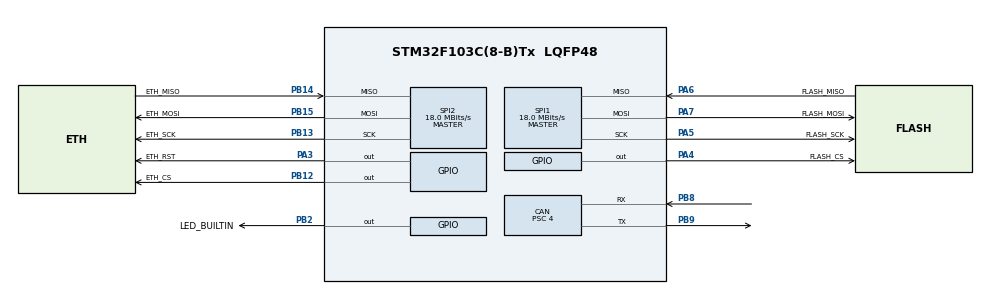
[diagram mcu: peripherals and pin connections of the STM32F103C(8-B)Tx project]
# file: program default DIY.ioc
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CAN.ABOM=ENABLE
CAN.BS1=CAN_BS1_13TQ
CAN.BS2=CAN_BS2_4TQ
CAN.CalculateBaudRate=500000
CAN.CalculateTimeBit=2000
CAN.CalculateTimeQuantum=111.11111111111111
CAN.NART=ENABLE
CAN.Prescaler=4
IWDG.Prescaler=IWDG_PRESCALER_256
IWDG.Reload=780
Mcu.Family=STM32F1
Mcu.Name=STM32F103C(8-B)Tx
Mcu.Package=LQFP48
NVIC.CAN1_RX1_IRQn=true\:6\:0\:true\:false\:true\:true\:true\:true
NVIC.CAN1_SCE_IRQn=true\:6\:0\:true\:false\:true\:true\:true\:true
NVIC.PriorityGroup=NVIC_PRIORITYGROUP_4
NVIC.USB_HP_CAN1_TX_IRQn=true\:5\:0\:true\:false\:true\:true\:true\:true
NVIC.USB_LP_CAN1_RX0_IRQn=true\:5\:0\:true\:false\:true\:true\:true\:true
PA13.Mode=Serial_Wire
PA13.Signal=SYS_JTMS-SWDIO
PA14.Mode=Serial_Wire
PA14.Signal=SYS_JTCK-SWCLK
PA3.GPIO_Label=ETH_RST
PA3.PinState=GPIO_PIN_SET
PA3.Signal=GPIO_Output
PA4.GPIO_Label=FLASH_CS
PA4.GPIO_Speed=GPIO_SPEED_FREQ_HIGH
PA4.PinState=GPIO_PIN_SET
PA4.Signal=GPIO_Output
PA5.GPIO_Label=FLASH_SCK
PA5.Mode=Full_Duplex_Master
PA5.Signal=SPI1_SCK
PA6.GPIO_Label=FLASH_MISO
PA6.Mode=Full_Duplex_Master
PA6.Signal=SPI1_MISO
PA7.GPIO_Label=FLASH_MOSI
PA7.Mode=Full_Duplex_Master
PA7.Signal=SPI1_MOSI
PB12.GPIO_Label=ETH_CS
PB12.GPIO_Speed=GPIO_SPEED_FREQ_HIGH
PB12.PinState=GPIO_PIN_SET
PB12.Signal=GPIO_Output
PB13.GPIO_Label=ETH_SCK
PB13.Mode=Full_Duplex_Master
PB13.Signal=SPI2_SCK
PB14.GPIO_Label=ETH_MISO
PB14.Mode=Full_Duplex_Master
PB14.Signal=SPI2_MISO
PB15.GPIO_Label=ETH_MOSI
PB15.Mode=Full_Duplex_Master
PB15.Signal=SPI2_MOSI
PB2.GPIO_Label=LED_BUILTIN
PB2.Signal=GPIO_Output
PB8.Mode=CAN_Activate
PB8.Signal=CAN_RX
PB9.Mode=CAN_Activate
PB9.Signal=CAN_TX
PD0-OSC_IN.Mode=HSE-External-Oscillator
PD0-OSC_IN.Signal=RCC_OSC_IN
PD1-OSC_OUT.Mode=HSE-External-Oscillator
PD1-OSC_OUT.Signal=RCC_OSC_OUT
ProjectManager.HeapSize=0x200
ProjectManager.StackSize=0x400
ProjectManager.TargetToolchain=STM32CubeIDE
RCC.AHBFreq_Value=72000000
RCC.APB1CLKDivider=RCC_HCLK_DIV2
RCC.APB1Freq_Value=36000000
RCC.APB1TimFreq_Value=72000000
RCC.APB2Freq_Value=72000000
RCC.APB2TimFreq_Value=72000000
RCC.HCLKFreq_Value=72000000
RCC.PLLMUL=RCC_PLL_MUL9
RCC.PLLSourceVirtual=RCC_PLLSOURCE_HSE
RCC.SYSCLKFreq_VALUE=72000000
RCC.SYSCLKSource=RCC_SYSCLKSOURCE_PLLCLK
RCC.USBFreq_Value=72000000
SPI1.BaudRatePrescaler=SPI_BAUDRATEPRESCALER_4
SPI1.CalculateBaudRate=18.0 MBits/s
SPI1.Direction=SPI_DIRECTION_2LINES
SPI1.Mode=SPI_MODE_MASTER
SPI1.VirtualType=VM_MASTER
SPI2.CalculateBaudRate=18.0 MBits/s
SPI2.Direction=SPI_DIRECTION_2LINES
SPI2.Mode=SPI_MODE_MASTER
SPI2.VirtualType=VM_MASTER
VP_CRC_VS_CRC.Mode=CRC_Activate
VP_IWDG_VS_IWDG.Mode=IWDG_Activate
board=custom

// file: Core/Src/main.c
/* USER CODE BEGIN Header */
/**
  ******************************************************************************
  * @file           : main.c
  * @brief          : Main program body
  ******************************************************************************
  * @attention
  *
  * Copyright (c) 2026 STMicroelectronics.
  * All rights reserved.
  *
  * This software is licensed under terms that can be found in the LICENSE file
  * in the root directory of this software component.
  * If no LICENSE file comes with this software, it is provided AS-IS.
  *
  ******************************************************************************
  */
/* USER CODE END Header */
#include "main.h"

/* USER CODE BEGIN Includes */
#include <string.h>
#include <stdio.h>
#include <stdlib.h>
#include "dhcp.h"
#include "mqtt_config.h"
#include "web_config.h"
#include "mqtt_client.h"
#include "can_bus.h"
#include "web_cmnd.h"
#include "html_flash.h"
#include "html_landing.h"
/* USER CODE END Includes */

/* USER CODE BEGIN PD */
//#define OTA_MODE_BACKUP
//#define MAIN_DEBUG
#define DEBUG_MQTT
#define APP_START_ADDR        0x08001000U
#define MAX_FIRMWARE_SIZE     (60 * 1024)

#define FLASH_BACKUP_META     0x00010000U
#define FLASH_BACKUP_BIN      0x00011000U

#define FLASH_STAGING_META    0x00020000U
#define FLASH_STAGING_BIN     0x00021000U

#define W5500_COMMON_REG_OP   0x00
#define W5500_S0_REG_OP       0x08
#define W5500_S0_TX_OP        0x10
#define W5500_S0_RX_OP        0x18

#define Sn_MR                 0x0000
#define Sn_CR                 0x0001
#define Sn_IR                 0x0002
#define Sn_SR                 0x0003
#define Sn_PORT               0x0004
#define Sn_TX_FSR             0x0020
#define Sn_TX_RD              0x0022
#define Sn_TX_WR              0x0024
#define Sn_RX_RSR             0x0026
#define Sn_RX_RD              0x0028

#define SOCK_CLOSED           0x00
#define SOCK_INIT             0x13
#define SOCK_LISTEN           0x14
#define SOCK_ESTABLISHED      0x17
#define SOCK_CLOSE_WAIT       0x1C
#define SOCK_FIN_WAIT         0x18

#define CMD_OPEN              0x01
#define CMD_LISTEN            0x02
#define CMD_DISCON            0x08
#define CMD_CLOSE             0x10
#define CMD_SEND              0x20
#define CMD_RECV              0x40

#define W5500_S0_BUF_MASK     0x1FFF
#define CHUNK_BUFFER_SIZE     (256)
uint8_t ram_buffer[CHUNK_BUFFER_SIZE];
/* USER CODE END PD */

CAN_HandleTypeDef hcan;

/* USER CODE BEGIN PV */
volatile uint32_t g_ms_tick = 0;
uint8_t g_phy_reg = 0;
#ifdef MAIN_DEBUG
uint8_t g_dbg_s0_test = 0;
uint8_t g_dbg_s1_test = 0;
uint8_t g_dbg_test2   = 0;
uint8_t g_dbg_test3   = 0;
#endif

#ifdef DEBUG_MQTT
uint8_t g_dbg_s2_tx_size = 0;
uint8_t g_dbg_s2_sr     = 0;
uint8_t g_dbg_s2_fsr_hi = 0;
uint8_t g_dbg_s2_fsr_lo = 0;
#endif
/* USER CODE END PV */

void SystemClock_Config(void);
static void MX_GPIO_Init(void);
static void MX_SPI1_Init(void);
static void MX_SPI2_Init(void);
static void MX_CRC_Init(void);
static void MX_IWDG_Init(void);
static void MX_CAN_Init(void);

/* USER CODE BEGIN 0 */

// ==============================================================================
// 1. DRIVER SPI1 - FLASH EKSTERNAL
// ==============================================================================
static inline uint8_t SPI1_Transfer(uint8_t data)
{
  while (!LL_SPI_IsActiveFlag_TXE(SPI1));
  LL_SPI_TransmitData8(SPI1, data);
  while (!LL_SPI_IsActiveFlag_RXNE(SPI1));
  return LL_SPI_ReceiveData8(SPI1);
}

void ExtFlash_WaitBusy(void)
{
  uint8_t status;
  do {
    LL_GPIO_ResetOutputPin(FLASH_CS_GPIO_Port, FLASH_CS_Pin);
    SPI1_Transfer(0x05);
    status = SPI1_Transfer(0xFF);
    LL_GPIO_SetOutputPin(FLASH_CS_GPIO_Port, FLASH_CS_Pin);
  } while (status & 0x01);
}

void ExtFlash_WriteEnable(void)
{
  LL_GPIO_ResetOutputPin(FLASH_CS_GPIO_Port, FLASH_CS_Pin);
  SPI1_Transfer(0x06);
  LL_GPIO_SetOutputPin(FLASH_CS_GPIO_Port, FLASH_CS_Pin);
}

void ExtFlash_EraseSector(uint32_t addr)
{
  ExtFlash_WriteEnable();
  LL_GPIO_ResetOutputPin(FLASH_CS_GPIO_Port, FLASH_CS_Pin);
  SPI1_Transfer(0x20);
  SPI1_Transfer((uint8_t)(addr >> 16));
  SPI1_Transfer((uint8_t)(addr >> 8));
  SPI1_Transfer((uint8_t)addr);
  LL_GPIO_SetOutputPin(FLASH_CS_GPIO_Port, FLASH_CS_Pin);
  ExtFlash_WaitBusy();
}

void ExtFlash_WritePage(uint32_t addr, const uint8_t *data, uint16_t len)
{
  ExtFlash_WriteEnable();
  LL_GPIO_ResetOutputPin(FLASH_CS_GPIO_Port, FLASH_CS_Pin);
  SPI1_Transfer(0x02);
  SPI1_Transfer((uint8_t)(addr >> 16));
  SPI1_Transfer((uint8_t)(addr >> 8));
  SPI1_Transfer((uint8_t)addr);
  for (uint16_t i = 0; i < len; i++) SPI1_Transfer(data[i]);
  LL_GPIO_SetOutputPin(FLASH_CS_GPIO_Port, FLASH_CS_Pin);
  ExtFlash_WaitBusy();
}

void Flash_ReadBytes(uint32_t addr, uint8_t *buf, uint32_t len)
{
  LL_GPIO_ResetOutputPin(FLASH_CS_GPIO_Port, FLASH_CS_Pin);
  SPI1_Transfer(0x03);
  SPI1_Transfer((uint8_t)(addr >> 16));
  SPI1_Transfer((uint8_t)(addr >> 8));
  SPI1_Transfer((uint8_t)addr);
  for (uint32_t i = 0; i < len; i++) buf[i] = SPI1_Transfer(0xFF);
  LL_GPIO_SetOutputPin(FLASH_CS_GPIO_Port, FLASH_CS_Pin);
}

uint32_t Hitung_CRC32_LL(const uint32_t *pData32, uint32_t totalWord)
{
  CRC->CR = 1;
  while (totalWord--) CRC->DR = *pData32++;
  return CRC->DR;
}

// ==============================================================================
// 2. FUNGSI SELF-BACKUP
// ==============================================================================
uint8_t Backup_CurrentFirmwareToExtFlash(uint32_t bin_size)
{
  if (bin_size == 0 || bin_size > MAX_FIRMWARE_SIZE) return 0;

  uint32_t total_words = (bin_size + 3) / 4;
  uint32_t rom_crc = Hitung_CRC32_LL((const uint32_t *)APP_START_ADDR, total_words);

  ExtFlash_EraseSector(FLASH_BACKUP_META);
  uint32_t sectors = (bin_size + 4095) / 4096;
  for (uint32_t s = 0; s < sectors; s++)
    ExtFlash_EraseSector(FLASH_BACKUP_BIN + (s * 4096));

  uint32_t bytes_left = bin_size;
  uint32_t cur_rom    = APP_START_ADDR;
  uint32_t cur_flash  = FLASH_BACKUP_BIN;
  while (bytes_left > 0) {
    uint16_t chunk = (bytes_left > 256) ? 256 : bytes_left;
    ExtFlash_WritePage(cur_flash, (const uint8_t *)cur_rom, chunk);
    cur_rom   += chunk;
    cur_flash += chunk;
    bytes_left -= chunk;
  }

  CRC->CR = 1;
  uint32_t words_left = total_words;
  uint32_t read_addr  = FLASH_BACKUP_BIN;
  while (words_left > 0) {
    uint32_t c_words = (words_left > 16) ? 16 : words_left;
    uint8_t temp[64];
    Flash_ReadBytes(read_addr, temp, c_words * 4);
    uint32_t *p = (uint32_t *)temp;
    for (uint32_t w = 0; w < c_words; w++) CRC->DR = p[w];
    read_addr  += (c_words * 4);
    words_left -= c_words;
  }

  if (CRC->DR == rom_crc) {
    uint8_t meta[10] = {0};
    meta[0] = (uint8_t)(bin_size);
    meta[1] = (uint8_t)(bin_size >> 8);
    meta[2] = (uint8_t)(bin_size >> 16);
    meta[3] = (uint8_t)(bin_size >> 24);
    meta[4] = (uint8_t)(rom_crc);
    meta[5] = (uint8_t)(rom_crc >> 8);
    meta[6] = (uint8_t)(rom_crc >> 16);
    meta[7] = (uint8_t)(rom_crc >> 24);
    meta[8] = 0x00;
    ExtFlash_WritePage(FLASH_BACKUP_META, meta, 10);
    return 1;
  }
  return 0;
}

// ==============================================================================
// 3. DRIVER SPI2 - W5500 ETHERNET BARE-METAL
// ==============================================================================
static inline uint8_t SPI2_Transfer(uint8_t data)
{
  uint32_t t = 200000;
  while (!LL_SPI_IsActiveFlag_TXE(SPI2))
    if (--t == 0) return 0xFF;
  LL_SPI_TransmitData8(SPI2, data);
  t = 200000;
  while (!LL_SPI_IsActiveFlag_RXNE(SPI2))
    if (--t == 0) return 0xFF;
  return LL_SPI_ReceiveData8(SPI2);
}

void W5500_WriteReg(uint16_t addr, uint8_t block, uint8_t data)
{
  LL_GPIO_ResetOutputPin(ETH_CS_GPIO_Port, ETH_CS_Pin);
  SPI2_Transfer((uint8_t)(addr >> 8));
  SPI2_Transfer((uint8_t)addr);
  SPI2_Transfer(block | 0x04);
  SPI2_Transfer(data);
  LL_GPIO_SetOutputPin(ETH_CS_GPIO_Port, ETH_CS_Pin);
}

uint8_t W5500_ReadReg(uint16_t addr, uint8_t block)
{
  LL_GPIO_ResetOutputPin(ETH_CS_GPIO_Port, ETH_CS_Pin);
  SPI2_Transfer((uint8_t)(addr >> 8));
  SPI2_Transfer((uint8_t)addr);
  SPI2_Transfer(block | 0x00);
  uint8_t val = SPI2_Transfer(0xFF);
  LL_GPIO_SetOutputPin(ETH_CS_GPIO_Port, ETH_CS_Pin);
  return val;
}

void W5500_WriteBuf(uint16_t addr, uint8_t block, const uint8_t *buf, uint16_t len)
{
  LL_GPIO_ResetOutputPin(ETH_CS_GPIO_Port, ETH_CS_Pin);
  SPI2_Transfer((uint8_t)(addr >> 8));
  SPI2_Transfer((uint8_t)addr);
  SPI2_Transfer(block | 0x04);
  for (uint16_t i = 0; i < len; i++) SPI2_Transfer(buf[i]);
  LL_GPIO_SetOutputPin(ETH_CS_GPIO_Port, ETH_CS_Pin);
}

void W5500_ReadBuf(uint16_t addr, uint8_t block, uint8_t *buf, uint16_t len)
{
  LL_GPIO_ResetOutputPin(ETH_CS_GPIO_Port, ETH_CS_Pin);
  SPI2_Transfer((uint8_t)(addr >> 8));
  SPI2_Transfer((uint8_t)addr);
  SPI2_Transfer(block | 0x00);
  for (uint16_t i = 0; i < len; i++) buf[i] = SPI2_Transfer(0xFF);
  LL_GPIO_SetOutputPin(ETH_CS_GPIO_Port, ETH_CS_Pin);
}

void W5500_InitNetwork(void)
{
  LL_GPIO_ResetOutputPin(ETH_RST_GPIO_Port, ETH_RST_Pin);
  for (volatile int i = 0; i < 72000; i++);
  LL_GPIO_SetOutputPin(ETH_RST_GPIO_Port, ETH_RST_Pin);
  for (volatile int i = 0; i < 720000; i++);

  // Set MAC — IP/subnet/gateway diurus DHCP
  uint8_t mac[] = {0x00, 0x08, 0xDC, 0x11, 0x22, 0x33};
  uint8_t zero[] = {0, 0, 0, 0};
  W5500_WriteBuf(0x0009, W5500_COMMON_REG_OP, mac,  6);
  W5500_WriteBuf(0x0001, W5500_COMMON_REG_OP, zero, 4);  // GW
  W5500_WriteBuf(0x0005, W5500_COMMON_REG_OP, zero, 4);  // Subnet
  W5500_WriteBuf(0x000F, W5500_COMMON_REG_OP, zero, 4);  // IP

  // Alokasi buffer: Socket 0 = 8KB, Socket 1 = 2KB
  W5500_WriteReg(0x001E, W5500_S0_REG_OP, 8);  // Socket 0 TX
  W5500_WriteReg(0x001F, W5500_S0_REG_OP, 8);  // Socket 0 RX
  W5500_WriteReg(0x001E, 0x28,            2);  // Socket 1 TX
  W5500_WriteReg(0x001F, 0x28,            2);  // Socket 1 RX
}

static void W5500_WaitCR(uint8_t block, uint32_t timeout_ms)
{
  uint32_t t = g_ms_tick;
  while (W5500_ReadReg(Sn_CR, block))
    if ((g_ms_tick - t) > timeout_ms) break;
}

static void W5500_WaitSR(uint8_t block, uint8_t expected, uint32_t timeout_ms)
{
  uint32_t t = g_ms_tick;
  while (W5500_ReadReg(Sn_SR, block) != expected)
    if ((g_ms_tick - t) > timeout_ms) break;
}

void W5500_SocketOpenListen(uint16_t port)
{
  W5500_WriteReg(Sn_CR,      W5500_S0_REG_OP, CMD_CLOSE);
  W5500_WaitCR(W5500_S0_REG_OP, 10);
  W5500_WriteReg(Sn_MR,      W5500_S0_REG_OP, 0x01);
  W5500_WriteReg(Sn_PORT,    W5500_S0_REG_OP, (uint8_t)(port >> 8));
  W5500_WriteReg(Sn_PORT + 1,W5500_S0_REG_OP, (uint8_t)port);
  W5500_WriteReg(Sn_CR,      W5500_S0_REG_OP, CMD_OPEN);
  W5500_WaitCR(W5500_S0_REG_OP, 10);
  W5500_WaitSR(W5500_S0_REG_OP, SOCK_INIT, 50);
  W5500_WriteReg(Sn_CR,      W5500_S0_REG_OP, CMD_LISTEN);
  W5500_WaitCR(W5500_S0_REG_OP, 10);
  W5500_WaitSR(W5500_S0_REG_OP, SOCK_LISTEN, 50);
}

void W5500_SendTCP(const uint8_t *data, uint16_t len)
{
  uint16_t ptr = ((uint16_t)W5500_ReadReg(Sn_TX_WR,     W5500_S0_REG_OP) << 8) |
                             W5500_ReadReg(Sn_TX_WR + 1, W5500_S0_REG_OP);
  W5500_WriteBuf(ptr, W5500_S0_TX_OP, data, len);
  ptr += len;
  W5500_WriteReg(Sn_TX_WR,     W5500_S0_REG_OP, (uint8_t)(ptr >> 8));
  W5500_WriteReg(Sn_TX_WR + 1, W5500_S0_REG_OP, (uint8_t)ptr);
  W5500_WriteReg(Sn_CR,        W5500_S0_REG_OP, CMD_SEND);
  W5500_WaitCR(W5500_S0_REG_OP, 10);
}

// ==============================================================================
// 4. WEB OTA HANDLER
// HTML_PAGE dihapus — dashboard di-serve dari SPI Flash (html_flash)
// Fallback ke HTML_LANDING (html_landing.h) jika SPI Flash kosong/corrupt
// ==============================================================================

void Process_Web_OTA(void)

{

  uint8_t sr = W5500_ReadReg(Sn_SR, W5500_S0_REG_OP);

  if (sr == SOCK_CLOSED) {

    W5500_SocketOpenListen(80);

    return;
  }

  if (sr == SOCK_CLOSE_WAIT || sr == SOCK_FIN_WAIT) {

    W5500_WriteReg(Sn_CR, W5500_S0_REG_OP, CMD_DISCON);

    while (W5500_ReadReg(Sn_CR, W5500_S0_REG_OP))
      ;

    return;
  }

  if (sr != SOCK_ESTABLISHED) return;

  uint16_t rx_len = ((uint16_t)W5500_ReadReg(Sn_RX_RSR, W5500_S0_REG_OP) << 8) |

                    W5500_ReadReg(Sn_RX_RSR + 1, W5500_S0_REG_OP);

  if (rx_len == 0) return;

  uint16_t rx_rd = ((uint16_t)W5500_ReadReg(Sn_RX_RD, W5500_S0_REG_OP) << 8) |

                   W5500_ReadReg(Sn_RX_RD + 1, W5500_S0_REG_OP);

  uint16_t fetch = (rx_len > (CHUNK_BUFFER_SIZE - 1)) ? (CHUNK_BUFFER_SIZE - 1) : rx_len;

  uint16_t s_off = rx_rd & W5500_S0_BUF_MASK;

  if ((s_off + fetch) > (W5500_S0_BUF_MASK + 1)) {

    uint16_t part1 = (W5500_S0_BUF_MASK + 1) - s_off;

    W5500_ReadBuf(s_off, W5500_S0_RX_OP, ram_buffer, part1);

    W5500_ReadBuf(0x0000, W5500_S0_RX_OP, ram_buffer + part1, fetch - part1);

  } else {

    W5500_ReadBuf(s_off, W5500_S0_RX_OP, ram_buffer, fetch);
  }

  ram_buffer[fetch] = '\0';

  // // ============================================================

  // // /config — Halaman konfigurasi MQTT

  // // ============================================================

  // if (strstr((char *)ram_buffer, "/config") != NULL)

  // {

  // WebConfig_Handle(ram_buffer, fetch);

  //

  // rx_rd += rx_len;

  // W5500_WriteReg(Sn_RX_RD, W5500_S0_REG_OP, (uint8_t)(rx_rd >> 8));

  // W5500_WriteReg(Sn_RX_RD + 1, W5500_S0_REG_OP, (uint8_t)rx_rd);

  // W5500_WriteReg(Sn_CR, W5500_S0_REG_OP, CMD_RECV);

  // while (W5500_ReadReg(Sn_CR, W5500_S0_REG_OP));

  // W5500_WriteReg(Sn_CR, W5500_S0_REG_OP, CMD_DISCON);

  // while (W5500_ReadReg(Sn_CR, W5500_S0_REG_OP));

  // return;

  // }

  // ============================================================

  // /config — Halaman konfigurasi MQTT

  // ============================================================

  if (strstr((char *)ram_buffer, "/config") != NULL)

  {

    // Cek apakah request berupa POST (Form submit)

    if (strstr((char *)ram_buffer, "POST") != NULL)

    {

      uint8_t tail[4] = { 0 };

      char *pBody = NULL;

      // Stream per chunk 256 byte sampai delimiter "\r\n\r\n" ditemukan

      while (pBody == NULL) {

        static uint8_t overlap[4 + CHUNK_BUFFER_SIZE];

        memcpy(overlap, tail, 4);

        memcpy(overlap + 4, ram_buffer, fetch);

        overlap[4 + fetch] = '\0';

        char *found = strstr((char *)overlap, "\r\n\r\n");

        if (found) {

          int pos_in_overlap = (found - (char *)overlap);

          int pos_in_buf = pos_in_overlap - 4;

          int body_start = pos_in_buf + 4;

          if (body_start < 0) body_start = 0;

          if (body_start > fetch) body_start = fetch;

          pBody = (char *)ram_buffer + body_start;

          // Tandai penerimaan chunk ini ke W5500

          rx_rd += fetch;

          W5500_WriteReg(Sn_RX_RD, W5500_S0_REG_OP, (uint8_t)(rx_rd >> 8));

          W5500_WriteReg(Sn_RX_RD + 1, W5500_S0_REG_OP, (uint8_t)rx_rd);

          W5500_WriteReg(Sn_CR, W5500_S0_REG_OP, CMD_RECV);

          while (W5500_ReadReg(Sn_CR, W5500_S0_REG_OP))
            ;

        } else {

          memcpy(tail, ram_buffer + fetch - 4, 4);

          rx_rd += fetch;

          W5500_WriteReg(Sn_RX_RD, W5500_S0_REG_OP, (uint8_t)(rx_rd >> 8));

          W5500_WriteReg(Sn_RX_RD + 1, W5500_S0_REG_OP, (uint8_t)rx_rd);

          W5500_WriteReg(Sn_CR, W5500_S0_REG_OP, CMD_RECV);

          while (W5500_ReadReg(Sn_CR, W5500_S0_REG_OP))
            ;

          // Tarik chunk berikutnya

          rx_len = ((uint16_t)W5500_ReadReg(Sn_RX_RSR, W5500_S0_REG_OP) << 8) |

                   W5500_ReadReg(Sn_RX_RSR + 1, W5500_S0_REG_OP);

          if (rx_len == 0) continue;

          fetch = (rx_len > (CHUNK_BUFFER_SIZE - 1)) ? (CHUNK_BUFFER_SIZE - 1) : rx_len;

          s_off = rx_rd & W5500_S0_BUF_MASK;

          W5500_ReadBuf(s_off, W5500_S0_RX_OP, ram_buffer, fetch);

          ram_buffer[fetch] = '\0';
        }
      }

      // Pindahkan sisa body yang terpotong ke awal ram_buffer

      uint16_t body_in_chunk = fetch - ((uint8_t *)pBody - ram_buffer);

      memmove(ram_buffer, pBody, body_in_chunk);

      ram_buffer[body_in_chunk] = '\0';

      // Jika body masih tersisa di buffer hardware W5500, ambil sisa byte-nya

      rx_len = ((uint16_t)W5500_ReadReg(Sn_RX_RSR, W5500_S0_REG_OP) << 8) |

               W5500_ReadReg(Sn_RX_RSR + 1, W5500_S0_REG_OP);

      if (rx_len > 0) {

        uint16_t grab = rx_len;

        if (body_in_chunk + grab > CHUNK_BUFFER_SIZE - 1) {

          grab = (CHUNK_BUFFER_SIZE - 1) - body_in_chunk;
        }

        s_off = rx_rd & W5500_S0_BUF_MASK;

        W5500_ReadBuf(s_off, W5500_S0_RX_OP, ram_buffer + body_in_chunk, grab);

        body_in_chunk += grab;

        // ram_buffer[body_in_chunk] = '\0';

        if (body_in_chunk >= CHUNK_BUFFER_SIZE)

          body_in_chunk = CHUNK_BUFFER_SIZE - 1;

        ram_buffer[body_in_chunk] = '\0';

        rx_rd += rx_len;

        W5500_WriteReg(Sn_RX_RD, W5500_S0_REG_OP, (uint8_t)(rx_rd >> 8));

        W5500_WriteReg(Sn_RX_RD + 1, W5500_S0_REG_OP, (uint8_t)rx_rd);

        W5500_WriteReg(Sn_CR, W5500_S0_REG_OP, CMD_RECV);

        while (W5500_ReadReg(Sn_CR, W5500_S0_REG_OP))
          ;
      }

      // Sisipkan prefix "POST /config\r\n\r\n" agar lolos pengecekan strstr() di web_config.c

      const char prefix_tag[] = "POST /config\r\n\r\n";

      uint8_t tag_len = strlen(prefix_tag);

      if (body_in_chunk + tag_len < CHUNK_BUFFER_SIZE) {

        memmove(ram_buffer + tag_len, ram_buffer, body_in_chunk + 1);

        memcpy(ram_buffer, prefix_tag, tag_len);

        body_in_chunk += tag_len;
      }

      // Proses penyimpanan dan kirim response HTTP

      WebConfig_Handle(ram_buffer, body_in_chunk);

      // Berikan jeda sejenak agar frame TCP ACK / HTTP 200 OK selesai terkirim sebelum DISCON

      for (volatile int d = 0; d < 20000; d++)
        ;

      W5500_WriteReg(Sn_CR, W5500_S0_REG_OP, CMD_DISCON);

      while (W5500_ReadReg(Sn_CR, W5500_S0_REG_OP))
        ;

      return;
    }

    // Handle GET /config dan GET /config/data

    WebConfig_Handle(ram_buffer, fetch);

    rx_rd += rx_len;

    W5500_WriteReg(Sn_RX_RD, W5500_S0_REG_OP, (uint8_t)(rx_rd >> 8));

    W5500_WriteReg(Sn_RX_RD + 1, W5500_S0_REG_OP, (uint8_t)rx_rd);

    W5500_WriteReg(Sn_CR, W5500_S0_REG_OP, CMD_RECV);

    while (W5500_ReadReg(Sn_CR, W5500_S0_REG_OP))
      ;

    for (volatile int d = 0; d < 20000; d++)
      ;

    W5500_WriteReg(Sn_CR, W5500_S0_REG_OP, CMD_DISCON);

    while (W5500_ReadReg(Sn_CR, W5500_S0_REG_OP))
      ;

    return;
  }

  // /cmnd — CAN Command GUI

  if (strstr((char *)ram_buffer, "/cmnd") != NULL) {

    if (strstr((char *)ram_buffer, "POST") != NULL) {

      uint8_t tail[4] = { 0 };

      char *pBody = NULL;

      // Stream per chunk sampai delimiter "\r\n\r\n" ditemukan

      while (pBody == NULL) {

        static uint8_t overlap[4 + CHUNK_BUFFER_SIZE];

        memcpy(overlap, tail, 4);

        memcpy(overlap + 4, ram_buffer, fetch);

        overlap[4 + fetch] = '\0';

        char *found = strstr((char *)overlap, "\r\n\r\n");

        if (found) {

          int pos_in_overlap = (found - (char *)overlap);

          int pos_in_buf = pos_in_overlap - 4;

          int body_start = pos_in_buf + 4;

          if (body_start < 0) body_start = 0;

          if (body_start > fetch) body_start = fetch;

          pBody = (char *)ram_buffer + body_start;

          rx_rd += fetch;

          W5500_WriteReg(Sn_RX_RD, W5500_S0_REG_OP, (uint8_t)(rx_rd >> 8));

          W5500_WriteReg(Sn_RX_RD + 1, W5500_S0_REG_OP, (uint8_t)rx_rd);

          W5500_WriteReg(Sn_CR, W5500_S0_REG_OP, CMD_RECV);

          while (W5500_ReadReg(Sn_CR, W5500_S0_REG_OP))
            ;

        } else {

          memcpy(tail, ram_buffer + fetch - 4, 4);

          rx_rd += fetch;

          W5500_WriteReg(Sn_RX_RD, W5500_S0_REG_OP, (uint8_t)(rx_rd >> 8));

          W5500_WriteReg(Sn_RX_RD + 1, W5500_S0_REG_OP, (uint8_t)rx_rd);

          W5500_WriteReg(Sn_CR, W5500_S0_REG_OP, CMD_RECV);

          while (W5500_ReadReg(Sn_CR, W5500_S0_REG_OP))
            ;

          rx_len = ((uint16_t)W5500_ReadReg(Sn_RX_RSR, W5500_S0_REG_OP) << 8) |

                   W5500_ReadReg(Sn_RX_RSR + 1, W5500_S0_REG_OP);

          if (rx_len == 0) continue;

          fetch = (rx_len > (CHUNK_BUFFER_SIZE - 1)) ? (CHUNK_BUFFER_SIZE - 1) : rx_len;

          s_off = rx_rd & W5500_S0_BUF_MASK;

          W5500_ReadBuf(s_off, W5500_S0_RX_OP, ram_buffer, fetch);

          ram_buffer[fetch] = '\0';
        }
      }

      // Pindahkan sisa body ke awal ram_buffer

      uint16_t body_in_chunk = fetch - ((uint8_t *)pBody - ram_buffer);

      memmove(ram_buffer, pBody, body_in_chunk);

      ram_buffer[body_in_chunk] = '\0';

      // Ambil sisa body dari W5500 jika masih ada

      rx_len = ((uint16_t)W5500_ReadReg(Sn_RX_RSR, W5500_S0_REG_OP) << 8) |

               W5500_ReadReg(Sn_RX_RSR + 1, W5500_S0_REG_OP);

      if (rx_len > 0) {

        uint16_t grab = rx_len;

        if (body_in_chunk + grab > CHUNK_BUFFER_SIZE - 1)

          grab = (CHUNK_BUFFER_SIZE - 1) - body_in_chunk;

        s_off = rx_rd & W5500_S0_BUF_MASK;

        W5500_ReadBuf(s_off, W5500_S0_RX_OP, ram_buffer + body_in_chunk, grab);

        body_in_chunk += grab;

        if (body_in_chunk >= CHUNK_BUFFER_SIZE)

          body_in_chunk = CHUNK_BUFFER_SIZE - 1;

        ram_buffer[body_in_chunk] = '\0';

        rx_rd += rx_len;

        W5500_WriteReg(Sn_RX_RD, W5500_S0_REG_OP, (uint8_t)(rx_rd >> 8));

        W5500_WriteReg(Sn_RX_RD + 1, W5500_S0_REG_OP, (uint8_t)rx_rd);

        W5500_WriteReg(Sn_CR, W5500_S0_REG_OP, CMD_RECV);

        while (W5500_ReadReg(Sn_CR, W5500_S0_REG_OP))
          ;
      }

      // Sisipkan prefix agar WebCmnd_Handle bisa deteksi "POST /cmnd"

      const char prefix_tag[] = "POST /cmnd\r\n\r\n";

      uint8_t tag_len = (uint8_t)strlen(prefix_tag);

      if (body_in_chunk + tag_len < CHUNK_BUFFER_SIZE) {

        memmove(ram_buffer + tag_len, ram_buffer, body_in_chunk + 1);

        memcpy(ram_buffer, prefix_tag, tag_len);

        body_in_chunk += tag_len;
      }

      WebCmnd_Handle(ram_buffer, body_in_chunk);

      for (volatile int d = 0; d < 20000; d++)
        ;

      W5500_WriteReg(Sn_CR, W5500_S0_REG_OP, CMD_DISCON);

      while (W5500_ReadReg(Sn_CR, W5500_S0_REG_OP))
        ;

      return;
    }

    // GET /cmnd

    WebCmnd_Handle(ram_buffer, fetch);

    rx_rd += rx_len;

    W5500_WriteReg(Sn_RX_RD, W5500_S0_REG_OP, (uint8_t)(rx_rd >> 8));

    W5500_WriteReg(Sn_RX_RD + 1, W5500_S0_REG_OP, (uint8_t)rx_rd);

    W5500_WriteReg(Sn_CR, W5500_S0_REG_OP, CMD_RECV);

    while (W5500_ReadReg(Sn_CR, W5500_S0_REG_OP))
      ;

    for (volatile int d = 0; d < 20000; d++)
      ;

    W5500_WriteReg(Sn_CR, W5500_S0_REG_OP, CMD_DISCON);

    while (W5500_ReadReg(Sn_CR, W5500_S0_REG_OP))
      ;

    return;
  }

  // GET / — Kirim dashboard dari SPI Flash, fallback ke landing page

  if (strstr((char *)ram_buffer, "GET /") != NULL) {

    if (HtmlFlash_IsValid()) {
      HtmlFlash_SendPage();
    } else {
      uint16_t llen = (uint16_t)strlen(HTML_LANDING);
      char header[128];
      sprintf(header,
              "HTTP/1.1 200 OK\r\nContent-Type: text/html\r\nContent-Length: %d\r\nConnection: close\r\n\r\n",
              llen);
      W5500_SendTCP((uint8_t *)header, strlen(header));
      W5500_SendTCP((const uint8_t *)HTML_LANDING, llen);
    }

    rx_rd += rx_len;

    W5500_WriteReg(Sn_RX_RD, W5500_S0_REG_OP, (uint8_t)(rx_rd >> 8));

    W5500_WriteReg(Sn_RX_RD + 1, W5500_S0_REG_OP, (uint8_t)rx_rd);

    W5500_WriteReg(Sn_CR, W5500_S0_REG_OP, CMD_RECV);

    while (W5500_ReadReg(Sn_CR, W5500_S0_REG_OP))
      ;

    W5500_WriteReg(Sn_CR, W5500_S0_REG_OP, CMD_DISCON);

    while (W5500_ReadReg(Sn_CR, W5500_S0_REG_OP))
      ;

    return;
  }

  // POST /html-upload — Terima file HTML, simpan ke SPI Flash
  // Logika identik dengan POST /ota yang sudah proven, hanya beda target address

  if (strstr((char *)ram_buffer, "POST /html-upload") != NULL) {

    char *pSize = strstr((char *)ram_buffer, "?sz=");
    char *pCrc  = strstr((char *)ram_buffer, "&crc=");
    if (!pSize || !pCrc) return;

    uint32_t expected_size = strtoul(pSize + 4, NULL, 10);
    uint32_t expected_crc  = strtoul(pCrc  + 5, NULL, 0);

    if (expected_size == 0 || expected_size > HTML_FLASH_DATA_MAX) {
      const char err[] = "HTTP/1.1 400 Bad\r\nConnection: close\r\n\r\nFile terlalu besar!";
      W5500_SendTCP((uint8_t *)err, strlen(err));
      W5500_WriteReg(Sn_CR, W5500_S0_REG_OP, CMD_DISCON);
      while (W5500_ReadReg(Sn_CR, W5500_S0_REG_OP));
      return;
    }

    // == IDENTIK OTA: cari \r\n\r\n dengan overlap 4 byte ==
    uint8_t  html_rx_already_updated = 0;
    uint8_t  html_tail[4] = { 0 };
    char    *pBody = NULL;

    while (pBody == NULL) {

      uint8_t overlap[4 + CHUNK_BUFFER_SIZE];
      memcpy(overlap, html_tail, 4);
      memcpy(overlap + 4, ram_buffer, fetch);
      overlap[4 + fetch] = '\0';

      char *found = strstr((char *)overlap, "\r\n\r\n");
      if (found) {
        int pos_in_overlap = (found - (char *)overlap);
        int pos_in_buf     = pos_in_overlap - 4;
        int body_start     = pos_in_buf + 4;
        if (body_start < 0)      body_start = 0;
        if (body_start > fetch)  body_start = fetch;
        pBody = (char *)ram_buffer + body_start;

        rx_rd += fetch;
        W5500_WriteReg(Sn_RX_RD,     W5500_S0_REG_OP, (uint8_t)(rx_rd >> 8));
        W5500_WriteReg(Sn_RX_RD + 1, W5500_S0_REG_OP, (uint8_t)rx_rd);
        W5500_WriteReg(Sn_CR,         W5500_S0_REG_OP, CMD_RECV);
        while (W5500_ReadReg(Sn_CR,   W5500_S0_REG_OP));
        html_rx_already_updated = 1;

      } else {
        memcpy(html_tail, ram_buffer + fetch - 4, 4);
        rx_rd += fetch;
        W5500_WriteReg(Sn_RX_RD,     W5500_S0_REG_OP, (uint8_t)(rx_rd >> 8));
        W5500_WriteReg(Sn_RX_RD + 1, W5500_S0_REG_OP, (uint8_t)rx_rd);
        W5500_WriteReg(Sn_CR,         W5500_S0_REG_OP, CMD_RECV);
        while (W5500_ReadReg(Sn_CR,   W5500_S0_REG_OP));

        rx_len = ((uint16_t)W5500_ReadReg(Sn_RX_RSR,     W5500_S0_REG_OP) << 8) |
                             W5500_ReadReg(Sn_RX_RSR + 1, W5500_S0_REG_OP);
        if (rx_len == 0) continue;
        fetch = (rx_len > (CHUNK_BUFFER_SIZE - 1)) ? (CHUNK_BUFFER_SIZE - 1) : rx_len;
        s_off = rx_rd & W5500_S0_BUF_MASK;
        W5500_ReadBuf(s_off, W5500_S0_RX_OP, ram_buffer, fetch);
        ram_buffer[fetch] = '\0';
      }
    }

    // == IDENTIK OTA: erase sektor target ==
    ExtFlash_EraseSector(HTML_FLASH_META_ADDR);
    LL_IWDG_ReloadCounter(IWDG);
    uint32_t html_sectors = (expected_size + 4095) / 4096;
    for (uint32_t s = 0; s < html_sectors; s++) {
      ExtFlash_EraseSector(HTML_FLASH_DATA_ADDR + (s * 4096));
      LL_IWDG_ReloadCounter(IWDG);
    }

    // == IDENTIK OTA: tulis chunk awal body ==
    uint16_t header_len      = (uint8_t *)pBody - ram_buffer;
    uint16_t body_in_packet  = fetch - header_len;
    uint32_t bytes_received  = 0;

    if (body_in_packet > 0) {
      uint16_t written = 0;
      while (written < body_in_packet) {
        uint32_t cur_flash   = HTML_FLASH_DATA_ADDR + written;
        uint16_t page_offset = cur_flash & 0xFF;
        uint16_t space_left  = 256 - page_offset;
        uint16_t page_len    = (body_in_packet - written > space_left)
                                ? space_left : (body_in_packet - written);
        ExtFlash_WritePage(cur_flash, (uint8_t *)pBody + written, page_len);
        written += page_len;
      }
      bytes_received += body_in_packet;
    }

    if (!html_rx_already_updated) {
      rx_rd += fetch;
      W5500_WriteReg(Sn_RX_RD,     W5500_S0_REG_OP, (uint8_t)(rx_rd >> 8));
      W5500_WriteReg(Sn_RX_RD + 1, W5500_S0_REG_OP, (uint8_t)rx_rd);
      W5500_WriteReg(Sn_CR,         W5500_S0_REG_OP, CMD_RECV);
      while (W5500_ReadReg(Sn_CR,   W5500_S0_REG_OP));
    }

    // == IDENTIK OTA: stream sisa payload ==
    while (bytes_received < expected_size) {
      rx_len = ((uint16_t)W5500_ReadReg(Sn_RX_RSR,     W5500_S0_REG_OP) << 8) |
                           W5500_ReadReg(Sn_RX_RSR + 1, W5500_S0_REG_OP);
      if (rx_len == 0) continue;

      rx_rd = ((uint16_t)W5500_ReadReg(Sn_RX_RD,     W5500_S0_REG_OP) << 8) |
                          W5500_ReadReg(Sn_RX_RD + 1, W5500_S0_REG_OP);

      uint16_t grab = (rx_len > CHUNK_BUFFER_SIZE) ? CHUNK_BUFFER_SIZE : rx_len;
      if (bytes_received + grab > expected_size) grab = expected_size - bytes_received;

      s_off = rx_rd & W5500_S0_BUF_MASK;
      if ((s_off + grab) > (W5500_S0_BUF_MASK + 1)) {
        uint16_t p1 = (W5500_S0_BUF_MASK + 1) - s_off;
        W5500_ReadBuf(s_off,   W5500_S0_RX_OP, ram_buffer,      p1);
        W5500_ReadBuf(0x0000,  W5500_S0_RX_OP, ram_buffer + p1, grab - p1);
      } else {
        W5500_ReadBuf(s_off, W5500_S0_RX_OP, ram_buffer, grab);
      }

      uint16_t written = 0;
      while (written < grab) {
        uint32_t cur_flash   = HTML_FLASH_DATA_ADDR + bytes_received + written;
        uint16_t page_offset = cur_flash & 0xFF;
        uint16_t space_left  = 256 - page_offset;
        uint16_t page_len    = (grab - written > space_left)
                                ? space_left : (grab - written);
        ExtFlash_WritePage(cur_flash, &ram_buffer[written], page_len);
        written += page_len;
      }

      bytes_received += grab;
      rx_rd += grab;
      W5500_WriteReg(Sn_RX_RD,     W5500_S0_REG_OP, (uint8_t)(rx_rd >> 8));
      W5500_WriteReg(Sn_RX_RD + 1, W5500_S0_REG_OP, (uint8_t)rx_rd);
      W5500_WriteReg(Sn_CR,         W5500_S0_REG_OP, CMD_RECV);
      while (W5500_ReadReg(Sn_CR,   W5500_S0_REG_OP));
      LL_IWDG_ReloadCounter(IWDG);
    }

    // == Verifikasi CRC & simpan meta ==
    if (HtmlFlash_VerifyAndSaveMeta(expected_size, expected_crc)) {
      const char ok[] = "HTTP/1.1 200 OK\r\nConnection: close\r\n\r\nHTML tersimpan!";
      W5500_SendTCP((uint8_t *)ok, strlen(ok));
    } else {
      const char fail[] = "HTTP/1.1 500 Error\r\nConnection: close\r\n\r\nCRC Mismatch!";
      W5500_SendTCP((uint8_t *)fail, strlen(fail));
    }

    W5500_WriteReg(Sn_CR, W5500_S0_REG_OP, CMD_DISCON);
    while (W5500_ReadReg(Sn_CR, W5500_S0_REG_OP));
    return;
  }

  // POST /ota — Terima file binary

  if (strstr((char *)ram_buffer, "POST /ota") == NULL) return;

  char *pSize = strstr((char *)ram_buffer, "?sz=");

  char *pCrc = strstr((char *)ram_buffer, "&crc=");

  if (!pSize || !pCrc) return;

  uint32_t expected_size = strtoul(pSize + 4, NULL, 10);

  uint32_t expected_crc = strtoul(pCrc + 5, NULL, 0);

  uint8_t rx_already_updated = 0;

  uint8_t tail[4] = { 0 };

  char *pBody = NULL;

  while (pBody == NULL) {

    uint8_t overlap[4 + CHUNK_BUFFER_SIZE];

    memcpy(overlap, tail, 4);

    memcpy(overlap + 4, ram_buffer, fetch);

    overlap[4 + fetch] = '\0';

    char *found = strstr((char *)overlap, "\r\n\r\n");

    if (found) {

      int pos_in_overlap = (found - (char *)overlap);

      int pos_in_buf = pos_in_overlap - 4;

      int body_start = pos_in_buf + 4;

      if (body_start < 0) body_start = 0;

      if (body_start > fetch) body_start = fetch;

      pBody = (char *)ram_buffer + body_start;

      rx_rd += fetch;

      W5500_WriteReg(Sn_RX_RD, W5500_S0_REG_OP, (uint8_t)(rx_rd >> 8));

      W5500_WriteReg(Sn_RX_RD + 1, W5500_S0_REG_OP, (uint8_t)rx_rd);

      W5500_WriteReg(Sn_CR, W5500_S0_REG_OP, CMD_RECV);

      while (W5500_ReadReg(Sn_CR, W5500_S0_REG_OP))
        ;

      rx_already_updated = 1;

    } else {

      memcpy(tail, ram_buffer + fetch - 4, 4);

      rx_rd += fetch;

      W5500_WriteReg(Sn_RX_RD, W5500_S0_REG_OP, (uint8_t)(rx_rd >> 8));

      W5500_WriteReg(Sn_RX_RD + 1, W5500_S0_REG_OP, (uint8_t)rx_rd);

      W5500_WriteReg(Sn_CR, W5500_S0_REG_OP, CMD_RECV);

      while (W5500_ReadReg(Sn_CR, W5500_S0_REG_OP))
        ;

      rx_len = ((uint16_t)W5500_ReadReg(Sn_RX_RSR, W5500_S0_REG_OP) << 8) |

               W5500_ReadReg(Sn_RX_RSR + 1, W5500_S0_REG_OP);

      if (rx_len == 0) continue;

      fetch = (rx_len > (CHUNK_BUFFER_SIZE - 1)) ? (CHUNK_BUFFER_SIZE - 1) : rx_len;

      s_off = rx_rd & W5500_S0_BUF_MASK;

      W5500_ReadBuf(s_off, W5500_S0_RX_OP, ram_buffer, fetch);

      ram_buffer[fetch] = '\0';
    }
  }

  if (expected_size == 0 || expected_size > MAX_FIRMWARE_SIZE) {

    const char err[] = "HTTP/1.1 400 Bad\r\nConnection: close\r\n\r\nFile > 28KB!";

    W5500_SendTCP((uint8_t *)err, strlen(err));

    W5500_WriteReg(Sn_CR, W5500_S0_REG_OP, CMD_DISCON);

    while (W5500_ReadReg(Sn_CR, W5500_S0_REG_OP))
      ;

    return;
  }

#ifdef OTA_MODE_BACKUP

  uint32_t target_meta = FLASH_BACKUP_META;

  uint32_t target_bin = FLASH_BACKUP_BIN;

#else

  uint32_t target_meta = FLASH_STAGING_META;

  uint32_t target_bin = FLASH_STAGING_BIN;

#endif

  ExtFlash_EraseSector(target_meta);

  uint32_t sectors = (expected_size + 4095) / 4096;

  for (uint32_t s = 0; s < sectors; s++)

    ExtFlash_EraseSector(target_bin + (s * 4096));

  uint16_t header_len = (uint8_t *)pBody - ram_buffer;

  uint16_t body_in_packet = fetch - header_len;

  uint32_t bytes_received = 0;

  if (body_in_packet > 0) {

    uint16_t written = 0;

    while (written < body_in_packet) {

      uint32_t cur_flash = target_bin + written;

      uint16_t page_offset = cur_flash & 0xFF;

      uint16_t space_left = 256 - page_offset;

      uint16_t page_len = (body_in_packet - written > space_left)

                            ? space_left
                            : (body_in_packet - written);

      ExtFlash_WritePage(cur_flash, (uint8_t *)pBody + written, page_len);

      written += page_len;
    }

    bytes_received += body_in_packet;
  }

  if (!rx_already_updated) {

    rx_rd += fetch;

    W5500_WriteReg(Sn_RX_RD, W5500_S0_REG_OP, (uint8_t)(rx_rd >> 8));

    W5500_WriteReg(Sn_RX_RD + 1, W5500_S0_REG_OP, (uint8_t)rx_rd);

    W5500_WriteReg(Sn_CR, W5500_S0_REG_OP, CMD_RECV);

    while (W5500_ReadReg(Sn_CR, W5500_S0_REG_OP))
      ;
  }

  while (bytes_received < expected_size) {

    rx_len = ((uint16_t)W5500_ReadReg(Sn_RX_RSR, W5500_S0_REG_OP) << 8) |

             W5500_ReadReg(Sn_RX_RSR + 1, W5500_S0_REG_OP);

    if (rx_len == 0) continue;

    rx_rd = ((uint16_t)W5500_ReadReg(Sn_RX_RD, W5500_S0_REG_OP) << 8) |

            W5500_ReadReg(Sn_RX_RD + 1, W5500_S0_REG_OP);

    uint16_t grab = (rx_len > CHUNK_BUFFER_SIZE) ? CHUNK_BUFFER_SIZE : rx_len;

    if (bytes_received + grab > expected_size) grab = expected_size - bytes_received;

    s_off = rx_rd & W5500_S0_BUF_MASK;

    if ((s_off + grab) > (W5500_S0_BUF_MASK + 1)) {

      uint16_t p1 = (W5500_S0_BUF_MASK + 1) - s_off;

      W5500_ReadBuf(s_off, W5500_S0_RX_OP, ram_buffer, p1);

      W5500_ReadBuf(0x0000, W5500_S0_RX_OP, ram_buffer + p1, grab - p1);

    } else {

      W5500_ReadBuf(s_off, W5500_S0_RX_OP, ram_buffer, grab);
    }

    uint16_t written = 0;

    while (written < grab) {

      uint32_t cur_flash = target_bin + bytes_received + written;

      uint16_t page_offset = cur_flash & 0xFF;

      uint16_t space_left = 256 - page_offset;

      uint16_t page_len = (grab - written > space_left)

                            ? space_left
                            : (grab - written);

      ExtFlash_WritePage(cur_flash, &ram_buffer[written], page_len);

      written += page_len;
    }

    bytes_received += grab;

    rx_rd += grab;

    W5500_WriteReg(Sn_RX_RD, W5500_S0_REG_OP, (uint8_t)(rx_rd >> 8));

    W5500_WriteReg(Sn_RX_RD + 1, W5500_S0_REG_OP, (uint8_t)rx_rd);

    W5500_WriteReg(Sn_CR, W5500_S0_REG_OP, CMD_RECV);

    while (W5500_ReadReg(Sn_CR, W5500_S0_REG_OP))
      ;
  }

  CRC->CR = 1;

  uint32_t words = (expected_size + 3) / 4;

  uint32_t r_addr = target_bin;

  while (words > 0) {

    uint32_t c_w = (words > 16) ? 16 : words;

    uint8_t t[64];

    Flash_ReadBytes(r_addr, t, c_w * 4);

    uint32_t *p = (uint32_t *)t;

    for (uint32_t w = 0; w < c_w; w++) CRC->DR = p[w];

    r_addr += (c_w * 4);

    words -= c_w;
  }

  if (CRC->DR == expected_crc) {

    uint8_t meta[10] = { 0 };

    meta[0] = (uint8_t)(expected_size);

    meta[1] = (uint8_t)(expected_size >> 8);

    meta[2] = (uint8_t)(expected_size >> 16);

    meta[3] = (uint8_t)(expected_size >> 24);

    meta[4] = (uint8_t)(expected_crc);

    meta[5] = (uint8_t)(expected_crc >> 8);

    meta[6] = (uint8_t)(expected_crc >> 16);

    meta[7] = (uint8_t)(expected_crc >> 24);

#ifdef OTA_MODE_BACKUP

    meta[8] = 0x00;

    ExtFlash_WritePage(target_meta, meta, 10);

    const char ok_body[] = "Backup Saved!";

    char ok_msg[80];

    sprintf(ok_msg,

            "HTTP/1.1 200 OK\r\nContent-Length: %d\r\nConnection: close\r\n\r\n%s",

            strlen(ok_body), ok_body);

    W5500_SendTCP((uint8_t *)ok_msg, strlen(ok_msg));

    W5500_WriteReg(Sn_CR, W5500_S0_REG_OP, CMD_DISCON);

    while (W5500_ReadReg(Sn_CR, W5500_S0_REG_OP))
      ;

#else

    meta[8] = 0xA5;

    ExtFlash_WritePage(target_meta, meta, 10);

    const char ok_body[] = "Update Terkirim! Firmware tersimpan di flash. Device Rebooting...";

    char ok_msg[128];

    sprintf(ok_msg,

            "HTTP/1.1 200 OK\r\nContent-Length: %d\r\nConnection: close\r\n\r\n%s",

            strlen(ok_body), ok_body);

    W5500_SendTCP((uint8_t *)ok_msg, strlen(ok_msg));

    for (volatile int d = 0; d < 7200000; d++)
      ;

    NVIC_SystemReset();

#endif

  } else {

    const char fail_msg[] = "HTTP/1.1 500 Error\r\nConnection: close\r\n\r\nCRC Mismatch!";

    W5500_SendTCP((uint8_t *)fail_msg, strlen(fail_msg));

    W5500_WriteReg(Sn_CR, W5500_S0_REG_OP, CMD_DISCON);

    while (W5500_ReadReg(Sn_CR, W5500_S0_REG_OP))
      ;
  }
}

/* USER CODE END 0 */

int main(void)
{

  /* USER CODE BEGIN 1 */
  SCB->VTOR = APP_START_ADDR;
  __enable_irq();

//  for (volatile uint32_t i = 0; i < 720000; i++);
  extern uint32_t _ebss;
  uint32_t *stack_start = &_ebss;
  uint32_t *stack_end   = (uint32_t *)(0x20000000 + 20*1024);
  while (stack_start < stack_end) {
      *stack_start++ = 0xDEADBEEF;
  }

  /* USER CODE END 1 */

  /* MCU Configuration--------------------------------------------------------*/

  /* Reset of all peripherals, Initializes the Flash interface and the Systick. */
  HAL_Init();

  /* Configure the system clock */
  SystemClock_Config();

  /* USER CODE BEGIN SysInit */
  // Enable SysTick interrupt (LL_Init1msTick tidak set TICKINT otomatis)
  SysTick->CTRL |= SysTick_CTRL_TICKINT_Msk;
  /* USER CODE END SysInit */

  /* Initialize all configured peripherals */
  MX_GPIO_Init();
  MX_SPI1_Init();
  MX_SPI2_Init();
  MX_CRC_Init();
  MX_IWDG_Init();
  MX_CAN_Init();
  /* USER CODE BEGIN 2 */
  LL_SPI_Enable(SPI1);
  if (LL_SPI_IsActiveFlag_RXNE(SPI1)) (void)LL_SPI_ReceiveData8(SPI1);
  if (SPI1->SR & SPI_SR_OVR) { (void)SPI1->DR; (void)SPI1->SR; }
  LL_SPI_Enable(SPI2);

  W5500_InitNetwork();
  DHCP_Init();
  WebConfig_Init();
  MQTT_Init();
  CAN_Bus_Init();

#ifdef MAIN_DEBUG
  // Test write/read Socket 0
  W5500_WriteReg(0x0004, W5500_S0_REG_OP, 0xAB);
  g_dbg_s0_test = W5500_ReadReg(0x0004, W5500_S0_REG_OP);

  // Test write/read Socket 1
  W5500_WriteReg(0x0004, 0x28, 0xCD);
  g_dbg_s1_test = W5500_ReadReg(0x0004, 0x28);

  // Test write/read DHAR Socket 1
  W5500_WriteReg(0x0006, 0x28, 0xFF);
  W5500_WriteReg(0x0007, 0x28, 0xFF);
  g_dbg_test2 = W5500_ReadReg(0x0006, 0x28);
  g_dbg_test3 = W5500_ReadReg(0x0007, 0x28);

  g_dbg_s2_sr     = W5500_ReadReg(0x0003, 0x48);
  g_dbg_s2_fsr_hi = W5500_ReadReg(0x0020, 0x48);
  g_dbg_s2_fsr_lo = W5500_ReadReg(0x0021, 0x48);

  g_phy_reg = W5500_ReadReg(0x002E, 0x00);
#endif

#ifdef DEBUG_MQTT
  W5500_WriteReg(0x001E, 0x48, 2);
  W5500_WriteReg(0x001F, 0x48, 2);
  g_dbg_s2_tx_size = W5500_ReadReg(0x001E, 0x48);
#endif
  /* USER CODE END 2 */

  /* Infinite loop */
  while (1)
  {

    /* USER CODE BEGIN 3 */

	  static uint32_t last_test = 0;
	  if ((HAL_GetTick() - last_test) >= 1000) {
	      last_test = HAL_GetTick();
	      CAN_Bus_SendCmd(RELAY_CMD_STATUS_REQ);

	      LL_GPIO_TogglePin(LED_BUILTIN_GPIO_Port, LED_BUILTIN_Pin);
	  }

    DHCP_Process();

    if (DHCP_IsBound())
    {
      Process_Web_OTA();
      static MqttConfig_t s_mqtt_cfg;
      static uint8_t s_cfg_loaded = 0;
      if (!s_cfg_loaded || g_config_updated) {
          MqttConfig_Load(&s_mqtt_cfg);
          s_cfg_loaded     = 1;
          g_config_updated = 0;
      }
      MQTT_Process(&s_mqtt_cfg);
    }

    if (g_can_rx_flag) {
        g_can_rx_flag = 0;

        // Data sudah ada di g_can_b_data
        // Contoh publish ke MQTT:
        // snprintf(payload, sizeof(payload),
        //     "{\"relay\":%d,\"temp\":%d,\"volt\":%.1f,\"uptime\":%d}",
        //     g_can_b_data.relay_state,
        //     g_can_b_data.temperature,
        //     g_can_b_data.voltage / 10.0f,
        //     g_can_b_data.uptime);
        // MQTT_Publish("tele/boardb/SENSOR", payload, strlen(payload));
    }

    LL_IWDG_ReloadCounter(IWDG);

  }
  /* USER CODE END 3 */
}

void SystemClock_Config(void)
{
  LL_FLASH_SetLatency(LL_FLASH_LATENCY_2);
  while(LL_FLASH_GetLatency()!= LL_FLASH_LATENCY_2)
  {
  }
  LL_RCC_HSE_Enable();

   /* Wait till HSE is ready */
  while(LL_RCC_HSE_IsReady() != 1)
  {

  }
  LL_RCC_LSI_Enable();

   /* Wait till LSI is ready */
  while(LL_RCC_LSI_IsReady() != 1)
  {

  }
  LL_RCC_PLL_ConfigDomain_SYS(LL_RCC_PLLSOURCE_HSE_DIV_1, LL_RCC_PLL_MUL_9);
  LL_RCC_PLL_Enable();

   /* Wait till PLL is ready */
  while(LL_RCC_PLL_IsReady() != 1)
  {

  }
  LL_RCC_SetAHBPrescaler(LL_RCC_SYSCLK_DIV_1);
  LL_RCC_SetAPB1Prescaler(LL_RCC_APB1_DIV_2);
  LL_RCC_SetAPB2Prescaler(LL_RCC_APB2_DIV_1);
  LL_RCC_SetSysClkSource(LL_RCC_SYS_CLKSOURCE_PLL);

   /* Wait till System clock is ready */
  while(LL_RCC_GetSysClkSource() != LL_RCC_SYS_CLKSOURCE_STATUS_PLL)
  {

  }
  LL_SetSystemCoreClock(72000000);

   /* Update the time base */
  if (HAL_InitTick (TICK_INT_PRIORITY) != HAL_OK)
  {
    Error_Handler();
  }
}

static void MX_CAN_Init(void)
{

  hcan.Instance = CAN1;
  hcan.Init.Prescaler = 4;
  hcan.Init.Mode = CAN_MODE_NORMAL;
  hcan.Init.SyncJumpWidth = CAN_SJW_1TQ;
  hcan.Init.TimeSeg1 = CAN_BS1_13TQ;
  hcan.Init.TimeSeg2 = CAN_BS2_4TQ;
  hcan.Init.TimeTriggeredMode = DISABLE;
  hcan.Init.AutoBusOff = ENABLE;
  hcan.Init.AutoWakeUp = DISABLE;
  hcan.Init.AutoRetransmission = ENABLE;
  hcan.Init.ReceiveFifoLocked = DISABLE;
  hcan.Init.TransmitFifoPriority = DISABLE;
  if (HAL_CAN_Init(&hcan) != HAL_OK)
  {
    Error_Handler();
  }

}

static void MX_CRC_Init(void)
{

  /* Peripheral clock enable */
  LL_AHB1_GRP1_EnableClock(LL_AHB1_GRP1_PERIPH_CRC);

}

static void MX_IWDG_Init(void)
{

  LL_IWDG_Enable(IWDG);
  LL_IWDG_EnableWriteAccess(IWDG);
  LL_IWDG_SetPrescaler(IWDG, LL_IWDG_PRESCALER_256);
  LL_IWDG_SetReloadCounter(IWDG, 780);
  while (LL_IWDG_IsReady(IWDG) != 1)
  {
  }

  LL_IWDG_ReloadCounter(IWDG);

}

static void MX_SPI1_Init(void)
{

  LL_SPI_InitTypeDef SPI_InitStruct = {0};

  LL_GPIO_InitTypeDef GPIO_InitStruct = {0};

  /* Peripheral clock enable */
  LL_APB2_GRP1_EnableClock(LL_APB2_GRP1_PERIPH_SPI1);

  LL_APB2_GRP1_EnableClock(LL_APB2_GRP1_PERIPH_GPIOA);
  /**SPI1 GPIO Configuration
  PA5   ------> SPI1_SCK
  PA6   ------> SPI1_MISO
  PA7   ------> SPI1_MOSI
  */
  GPIO_InitStruct.Pin = FLASH_SCK_Pin|FLASH_MOSI_Pin;
  GPIO_InitStruct.Mode = LL_GPIO_MODE_ALTERNATE;
  GPIO_InitStruct.Speed = LL_GPIO_SPEED_FREQ_HIGH;
  GPIO_InitStruct.OutputType = LL_GPIO_OUTPUT_PUSHPULL;
  LL_GPIO_Init(GPIOA, &GPIO_InitStruct);

  GPIO_InitStruct.Pin = FLASH_MISO_Pin;
  GPIO_InitStruct.Mode = LL_GPIO_MODE_FLOATING;
  LL_GPIO_Init(FLASH_MISO_GPIO_Port, &GPIO_InitStruct);

  /* SPI1 parameter configuration*/
  SPI_InitStruct.TransferDirection = LL_SPI_FULL_DUPLEX;
  SPI_InitStruct.Mode = LL_SPI_MODE_MASTER;
  SPI_InitStruct.DataWidth = LL_SPI_DATAWIDTH_8BIT;
  SPI_InitStruct.ClockPolarity = LL_SPI_POLARITY_LOW;
  SPI_InitStruct.ClockPhase = LL_SPI_PHASE_1EDGE;
  SPI_InitStruct.NSS = LL_SPI_NSS_SOFT;
  SPI_InitStruct.BaudRate = LL_SPI_BAUDRATEPRESCALER_DIV4;
  SPI_InitStruct.BitOrder = LL_SPI_MSB_FIRST;
  SPI_InitStruct.CRCCalculation = LL_SPI_CRCCALCULATION_DISABLE;
  SPI_InitStruct.CRCPoly = 10;
  LL_SPI_Init(SPI1, &SPI_InitStruct);

}

static void MX_SPI2_Init(void)
{

  LL_SPI_InitTypeDef SPI_InitStruct = {0};

  LL_GPIO_InitTypeDef GPIO_InitStruct = {0};

  /* Peripheral clock enable */
  LL_APB1_GRP1_EnableClock(LL_APB1_GRP1_PERIPH_SPI2);

  LL_APB2_GRP1_EnableClock(LL_APB2_GRP1_PERIPH_GPIOB);
  /**SPI2 GPIO Configuration
  PB13   ------> SPI2_SCK
  PB14   ------> SPI2_MISO
  PB15   ------> SPI2_MOSI
  */
  GPIO_InitStruct.Pin = ETH_SCK_Pin|ETH_MOSI_Pin;
  GPIO_InitStruct.Mode = LL_GPIO_MODE_ALTERNATE;
  GPIO_InitStruct.Speed = LL_GPIO_SPEED_FREQ_HIGH;
  GPIO_InitStruct.OutputType = LL_GPIO_OUTPUT_PUSHPULL;
  LL_GPIO_Init(GPIOB, &GPIO_InitStruct);

  GPIO_InitStruct.Pin = ETH_MISO_Pin;
  GPIO_InitStruct.Mode = LL_GPIO_MODE_FLOATING;
  LL_GPIO_Init(ETH_MISO_GPIO_Port, &GPIO_InitStruct);

  /* SPI2 parameter configuration*/
  SPI_InitStruct.TransferDirection = LL_SPI_FULL_DUPLEX;
  SPI_InitStruct.Mode = LL_SPI_MODE_MASTER;
  SPI_InitStruct.DataWidth = LL_SPI_DATAWIDTH_8BIT;
  SPI_InitStruct.ClockPolarity = LL_SPI_POLARITY_LOW;
  SPI_InitStruct.ClockPhase = LL_SPI_PHASE_1EDGE;
  SPI_InitStruct.NSS = LL_SPI_NSS_SOFT;
  SPI_InitStruct.BaudRate = LL_SPI_BAUDRATEPRESCALER_DIV2;
  SPI_InitStruct.BitOrder = LL_SPI_MSB_FIRST;
  SPI_InitStruct.CRCCalculation = LL_SPI_CRCCALCULATION_DISABLE;
  SPI_InitStruct.CRCPoly = 10;
  LL_SPI_Init(SPI2, &SPI_InitStruct);

}

static void MX_GPIO_Init(void)
{
  LL_GPIO_InitTypeDef GPIO_InitStruct = {0};

  /* GPIO Ports Clock Enable */
  LL_APB2_GRP1_EnableClock(LL_APB2_GRP1_PERIPH_GPIOD);
  LL_APB2_GRP1_EnableClock(LL_APB2_GRP1_PERIPH_GPIOA);
  LL_APB2_GRP1_EnableClock(LL_APB2_GRP1_PERIPH_GPIOB);

  /**/
  LL_GPIO_SetOutputPin(GPIOA, ETH_RST_Pin|FLASH_CS_Pin);

  /**/
  LL_GPIO_SetOutputPin(ETH_CS_GPIO_Port, ETH_CS_Pin);

  /**/
  LL_GPIO_ResetOutputPin(LED_BUILTIN_GPIO_Port, LED_BUILTIN_Pin);

  /**/
  GPIO_InitStruct.Pin = ETH_RST_Pin;
  GPIO_InitStruct.Mode = LL_GPIO_MODE_OUTPUT;
  GPIO_InitStruct.Speed = LL_GPIO_SPEED_FREQ_LOW;
  GPIO_InitStruct.OutputType = LL_GPIO_OUTPUT_PUSHPULL;
  LL_GPIO_Init(ETH_RST_GPIO_Port, &GPIO_InitStruct);

  /**/
  GPIO_InitStruct.Pin = FLASH_CS_Pin;
  GPIO_InitStruct.Mode = LL_GPIO_MODE_OUTPUT;
  GPIO_InitStruct.Speed = LL_GPIO_SPEED_FREQ_HIGH;
  GPIO_InitStruct.OutputType = LL_GPIO_OUTPUT_PUSHPULL;
  LL_GPIO_Init(FLASH_CS_GPIO_Port, &GPIO_InitStruct);

  /**/
  GPIO_InitStruct.Pin = LED_BUILTIN_Pin;
  GPIO_InitStruct.Mode = LL_GPIO_MODE_OUTPUT;
  GPIO_InitStruct.Speed = LL_GPIO_SPEED_FREQ_LOW;
  GPIO_InitStruct.OutputType = LL_GPIO_OUTPUT_PUSHPULL;
  LL_GPIO_Init(LED_BUILTIN_GPIO_Port, &GPIO_InitStruct);

  /**/
  GPIO_InitStruct.Pin = ETH_CS_Pin;
  GPIO_InitStruct.Mode = LL_GPIO_MODE_OUTPUT;
  GPIO_InitStruct.Speed = LL_GPIO_SPEED_FREQ_HIGH;
  GPIO_InitStruct.OutputType = LL_GPIO_OUTPUT_PUSHPULL;
  LL_GPIO_Init(ETH_CS_GPIO_Port, &GPIO_InitStruct);

}

void Error_Handler(void)
{
  __disable_irq();
  while (1)
  {
  }
}
